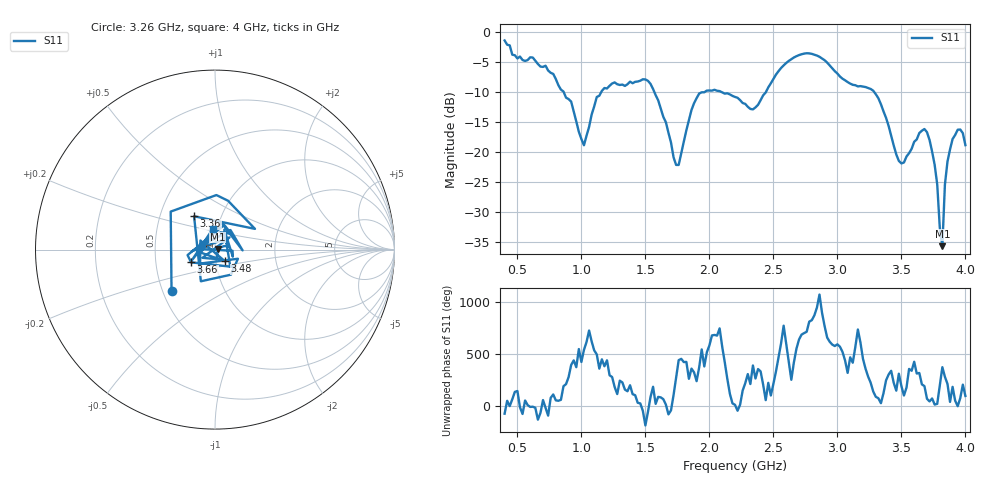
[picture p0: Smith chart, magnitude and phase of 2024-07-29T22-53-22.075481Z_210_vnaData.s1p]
!Created with skrf (http://scikit-rf.org).
# Hz S RI R 50.0
!freq ReS11 ImS11
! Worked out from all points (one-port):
!   181 points, 400 MHz to 4 GHz, reference 50 ohm
!   lowest |S11| = -35.7 dB at 3.82 GHz (marker M1), VSWR 1.03, Z = 51.6 + j0.384 ohm
!   |S11| at or under -10 dB: 1.57 GHz to 1.961 GHz (391 MHz wide, 22.1 % of centre); 2.096 GHz to 2.441 GHz (344.7 MHz wide, 15.2 % of centre); 3.288 GHz to end of sweep (the widest 3 of 4)
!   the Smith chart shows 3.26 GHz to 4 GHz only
!   S11 on the Smith chart (normalised r, x): 3.26 GHz: 0.56, -0.29; 3.36 GHz: 0.74, +0.29; 3.48 GHz: 1.11, -0.14; 3.66 GHz: 0.76, -0.11; 4 GHz: 0.95, +0.22
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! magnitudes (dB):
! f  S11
! 400 MHz  -1.4
! 500 MHz  -4.4
! 720 MHz  -5.6
! 860 MHz  -9.9
! 1.02 GHz  -18.8
! 1.12 GHz  -10.8
! 1.3 GHz  -8.8
! 1.54 GHz  -8.6
! 1.76 GHz  -22.1
! 1.86 GHz  -13.0
! 1.92 GHz  -10.2
! 2.2 GHz  -10.8
! 2.34 GHz  -12.9
! 2.66 GHz  -4.2
! 2.84 GHz  -3.9
! 3.1 GHz  -8.6
! 3.26 GHz  -9.5
! 3.36 GHz  -13.2
! 3.48 GHz  -21.5
! 3.56 GHz  -20.2
! 3.66 GHz  -16.4
! 3.7 GHz  -16.7
! 3.76 GHz  -22.1
! 3.82 GHz  -35.7
! 3.84 GHz  -25.4
! 3.88 GHz  -19.5
! 3.94 GHz  -16.3
! 4 GHz  -18.8
